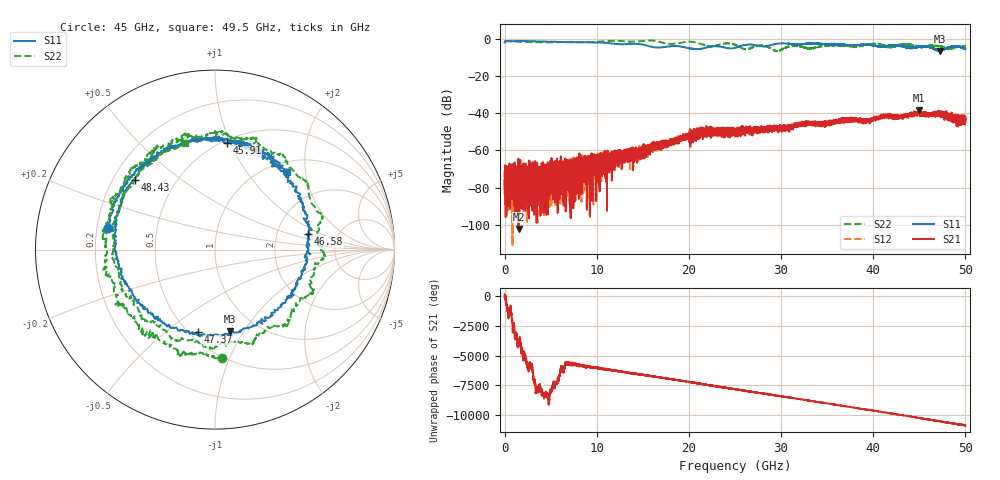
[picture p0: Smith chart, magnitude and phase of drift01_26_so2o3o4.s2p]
!Created with skrf (http://scikit-rf.org).
# Hz S RI R 50.0
!freq ReS11 ImS11 ReS21 ImS21 ReS12 ImS12 ReS22 ImS22
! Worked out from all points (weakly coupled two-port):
!   10001 points, 300 kHz to 50 GHz, reference 50 ohm
!   highest |S21| = -38.47 dB at 44.98 GHz (marker M1); lowest = -102.2 dB at 1.51 GHz (marker M2)
!   lowest |S11| = -6.7 dB at 47.21 GHz (marker M3), VSWR 2.71, Z = 37.6 - j43.4 ohm
!   |S11| at or under -10 dB: nowhere
!   |S22| runs from -6.8 to -1.0 dB; largest |S21 - S12| = 0.0037
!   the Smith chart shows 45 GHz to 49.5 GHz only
!   S11 on the Smith chart (normalised r, x): 45 GHz: 0.25, +0.10; 45.91 GHz: 0.53, +0.97; 46.58 GHz: 3.03, +0.74; 47.37 GHz: 0.55, -0.65; 48.43 GHz: 0.29, +0.34; 49.5 GHz: 1.19, +1.58
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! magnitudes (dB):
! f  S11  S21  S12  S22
! 300 kHz  -2.2  -75.9  -70.5  -1.3
! 255.3 MHz  -1.4  -90.4  -77.4  -1.4
! 1.51 GHz  -1.4  -102.2  -89.0  -1.7
! 6.575 GHz  -2.0  -77.0  -72.1  -1.9
! 8.335 GHz  -1.9  -77.5  -70.2  -2.1
! 16.67 GHz  -4.8  -55.7  -57.2  -1.6
! 21.45 GHz  -5.4  -48.6  -50.5  -3.1
! 25 GHz  -5.0  -49.2  -50.7  -3.4
! 28.09 GHz  -4.3  -49.0  -49.3  -3.8
! 29.52 GHz  -2.8  -47.7  -47.8  -6.8
! 31.27 GHz  -3.0  -47.5  -46.4  -4.0
! 33.34 GHz  -2.6  -44.6  -46.0  -5.4
! 41.67 GHz  -3.9  -41.1  -41.9  -4.6
! 44.98 GHz  -4.2  -38.5  -39.3  -4.1
! 45 GHz  -4.3  -40.9  -40.3  -4.4
! 45.91 GHz  -4.5  -40.6  -40.8  -4.2
! 46.58 GHz  -5.6  -40.9  -40.8  -3.8
! 47.21 GHz  -6.7  -40.9  -41.1  -4.5
! 47.37 GHz  -6.6  -41.9  -40.3  -4.8
! 48.43 GHz  -4.6  -40.6  -42.3  -5.2
! 49.5 GHz  -4.6  -45.2  -43.0  -4.2
! 50 GHz  -5.7  -43.5  -46.0  -4.3
